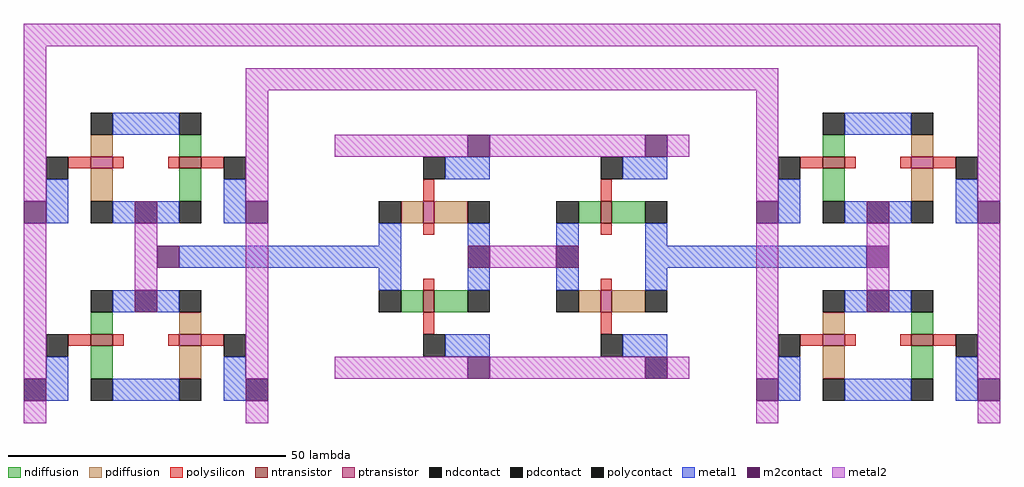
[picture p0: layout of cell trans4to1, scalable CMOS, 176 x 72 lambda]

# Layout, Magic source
magic
tech scmos
<< metal1 >>
rect -28 20 12 24
rect 56 20 96 24
rect 56 0 60 4
rect -56 -4 -52 0
rect -16 -4 -12 0
<< metal2 >>
rect -56 60 120 64
rect -56 56 -52 60
rect 116 56 120 60
rect -16 52 80 56
rect 0 40 4 44
<< m2contact >>
rect -32 20 -28 24
rect 96 20 100 24
use trans2to1  trans2to1_0
transform 1 0 4 0 1 0
box -4 0 60 44
use trans2to1  trans2to1_1
transform 0 1 76 -1 0 52
box -4 0 60 44
use trans2to1  trans2to1_2
transform 0 -1 -12 -1 0 52
box -4 0 60 44
<< end >>

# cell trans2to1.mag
magic
tech scmos
<< metal2 >>
rect -4 40 0 44
rect 28 40 32 44
rect 24 20 36 24
rect -4 0 0 4
rect 28 0 32 4
<< m2contact >>
rect 20 20 24 24
rect 36 20 40 24
use tansGate  tansGate_0
transform 1 0 0 0 1 4
box 0 -4 28 40
use tansGate  tansGate_1
transform 1 0 32 0 -1 40
box 0 -4 28 40
<< end >>

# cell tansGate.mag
magic
tech scmos
<< polysilicon >>
rect 12 28 14 32
rect 12 22 14 24
rect 12 12 14 14
rect 12 4 14 8
<< ndiffusion >>
rect 8 8 12 12
rect 14 8 20 12
<< pdiffusion >>
rect 8 24 12 28
rect 14 24 20 28
<< metal1 >>
rect 16 32 24 36
rect 4 12 8 24
rect 20 12 24 24
rect 16 0 24 4
<< metal2 >>
rect 0 36 20 40
rect 24 36 28 40
rect 0 -4 20 0
rect 24 -4 28 0
<< ntransistor >>
rect 12 8 14 12
<< ptransistor >>
rect 12 24 14 28
<< polycontact >>
rect 12 32 16 36
rect 12 0 16 4
<< ndcontact >>
rect 4 8 8 12
rect 20 8 24 12
<< pdcontact >>
rect 4 24 8 28
rect 20 24 24 28
<< m2contact >>
rect 20 36 24 40
rect 20 -4 24 0
<< end >>
